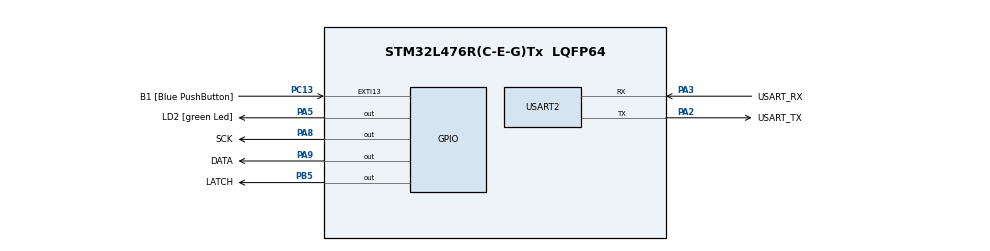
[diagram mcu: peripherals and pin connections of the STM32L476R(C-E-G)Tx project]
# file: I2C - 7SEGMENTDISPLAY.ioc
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Mcu.Family=STM32L4
Mcu.Name=STM32L476R(C-E-G)Tx
Mcu.Package=LQFP64
NVIC.PriorityGroup=NVIC_PRIORITYGROUP_4
NVIC.TIM1_UP_TIM16_IRQn=true\:0\:0\:false\:false\:true\:true\:true\:true
PA14\ (JTCK-SWCLK).GPIO_Label=TCK
PA14\ (JTCK-SWCLK).Signal=SYS_JTCK-SWCLK
PA2.GPIO_Label=USART_TX
PA2.GPIO_Mode=GPIO_MODE_AF_PP
PA2.GPIO_PuPd=GPIO_NOPULL
PA2.GPIO_Speed=GPIO_SPEED_FREQ_VERY_HIGH
PA2.Mode=Asynchronous
PA2.Signal=USART2_TX
PA3.GPIO_Label=USART_RX
PA3.GPIO_Mode=GPIO_MODE_AF_PP
PA3.GPIO_PuPd=GPIO_NOPULL
PA3.GPIO_Speed=GPIO_SPEED_FREQ_VERY_HIGH
PA3.Mode=Asynchronous
PA3.Signal=USART2_RX
PA5.GPIO_Label=LD2 [green Led]
PA5.GPIO_ModeDefaultOutputPP=GPIO_MODE_OUTPUT_PP
PA5.GPIO_PuPd=GPIO_NOPULL
PA5.GPIO_Speed=GPIO_SPEED_FREQ_LOW
PA5.Signal=GPIO_Output
PA8.GPIO_Label=SCK
PA8.Signal=GPIO_Output
PA9.GPIO_Label=DATA
PA9.Signal=GPIO_Output
PB3\ (JTDO-TRACESWO).GPIO_Label=SWO
PB3\ (JTDO-TRACESWO).Signal=SYS_JTDO-SWO
PB5.GPIO_Label=LATCH
PB5.Signal=GPIO_Output
PC13.GPIO_Label=B1 [Blue PushButton]
PC13.GPIO_ModeDefaultEXTI=GPIO_MODE_IT_FALLING
PC13.GPIO_PuPd=GPIO_NOPULL
PC13.Signal=GPXTI13
PC14-OSC32_IN\ (PC14).Signal=RCC_OSC32_IN
PC15-OSC32_OUT\ (PC15).Signal=RCC_OSC32_OUT
PH0-OSC_IN\ (PH0).Signal=RCC_OSC_IN
PH1-OSC_OUT\ (PH1).Signal=RCC_OSC_OUT
ProjectManager.HeapSize=0x200
ProjectManager.StackSize=0x400
ProjectManager.TargetToolchain=STM32CubeIDE
TIM16.Period=49
TIM16.Prescaler=7999
USART2.VirtualMode-Asynchronous=VM_ASYNC
VP_TIM16_VS_ClockSourceINT.Mode=Enable_Timer
board=NUCLEO-L476RG

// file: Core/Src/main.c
/* USER CODE BEGIN Header */
/**
  ******************************************************************************
  * @file           : main.c
  * @brief          : Main program body
  ******************************************************************************
  * @attention
  *
  * Copyright (c) 2024 STMicroelectronics.
  * All rights reserved.
  *
  * This software is licensed under terms that can be found in the LICENSE file
  * in the root directory of this software component.
  * If no LICENSE file comes with this software, it is provided AS-IS.
  *
  ******************************************************************************
  */
/* USER CODE END Header */
#include "main.h"

TIM_HandleTypeDef htim16;

UART_HandleTypeDef huart2;

/* USER CODE BEGIN PV */
#define CLOCK_0 0xC6

uint8_t TX_Buffer [] = {CLOCK_0, 0xF1} ; // DATA to send
uint8_t select_seg1 = 0xF1;
uint8_t select_seg2 = 0xF2;
uint8_t select_seg3 = 0xF4;
uint8_t select_seg4 = 0xF8;

static uint8_t latch_val = GPIO_PIN_SET;
/* USER CODE END PV */

void SystemClock_Config(void);
static void MX_GPIO_Init(void);
static void MX_USART2_UART_Init(void);
static void MX_TIM16_Init(void);

int main(void)
{

  /* MCU Configuration--------------------------------------------------------*/

  /* Reset of all peripherals, Initializes the Flash interface and the Systick. */
  HAL_Init();

  /* Configure the system clock */
  SystemClock_Config();

  /* Initialize all configured peripherals */
  MX_GPIO_Init();
  MX_USART2_UART_Init();
  MX_TIM16_Init();
  /* USER CODE BEGIN 2 */

  HAL_TIM_Base_Start_IT(&htim16);
  /* USER CODE END 2 */

  /* Infinite loop */
  while (1)
  {

  }
}

void SystemClock_Config(void)
{
  RCC_OscInitTypeDef RCC_OscInitStruct = {0};
  RCC_ClkInitTypeDef RCC_ClkInitStruct = {0};

  /** Configure the main internal regulator output voltage
  */
  if (HAL_PWREx_ControlVoltageScaling(PWR_REGULATOR_VOLTAGE_SCALE1) != HAL_OK)
  {
    Error_Handler();
  }

  /** Initializes the RCC Oscillators according to the specified parameters
  * in the RCC_OscInitTypeDef structure.
  */
  RCC_OscInitStruct.OscillatorType = RCC_OSCILLATORTYPE_MSI;
  RCC_OscInitStruct.MSIState = RCC_MSI_ON;
  RCC_OscInitStruct.MSICalibrationValue = 0;
  RCC_OscInitStruct.MSIClockRange = RCC_MSIRANGE_6;
  RCC_OscInitStruct.PLL.PLLState = RCC_PLL_NONE;
  if (HAL_RCC_OscConfig(&RCC_OscInitStruct) != HAL_OK)
  {
    Error_Handler();
  }

  /** Initializes the CPU, AHB and APB buses clocks
  */
  RCC_ClkInitStruct.ClockType = RCC_CLOCKTYPE_HCLK|RCC_CLOCKTYPE_SYSCLK
                              |RCC_CLOCKTYPE_PCLK1|RCC_CLOCKTYPE_PCLK2;
  RCC_ClkInitStruct.SYSCLKSource = RCC_SYSCLKSOURCE_MSI;
  RCC_ClkInitStruct.AHBCLKDivider = RCC_SYSCLK_DIV1;
  RCC_ClkInitStruct.APB1CLKDivider = RCC_HCLK_DIV1;
  RCC_ClkInitStruct.APB2CLKDivider = RCC_HCLK_DIV1;

  if (HAL_RCC_ClockConfig(&RCC_ClkInitStruct, FLASH_LATENCY_0) != HAL_OK)
  {
    Error_Handler();
  }
}

static void MX_TIM16_Init(void)
{

  htim16.Instance = TIM16;
  htim16.Init.Prescaler = 7999;
  htim16.Init.CounterMode = TIM_COUNTERMODE_UP;
  htim16.Init.Period = 49;
  htim16.Init.ClockDivision = TIM_CLOCKDIVISION_DIV1;
  htim16.Init.RepetitionCounter = 0;
  htim16.Init.AutoReloadPreload = TIM_AUTORELOAD_PRELOAD_DISABLE;
  if (HAL_TIM_Base_Init(&htim16) != HAL_OK)
  {
    Error_Handler();
  }

}

static void MX_USART2_UART_Init(void)
{

  huart2.Instance = USART2;
  huart2.Init.BaudRate = 115200;
  huart2.Init.WordLength = UART_WORDLENGTH_8B;
  huart2.Init.StopBits = UART_STOPBITS_1;
  huart2.Init.Parity = UART_PARITY_NONE;
  huart2.Init.Mode = UART_MODE_TX_RX;
  huart2.Init.HwFlowCtl = UART_HWCONTROL_NONE;
  huart2.Init.OverSampling = UART_OVERSAMPLING_16;
  huart2.Init.OneBitSampling = UART_ONE_BIT_SAMPLE_DISABLE;
  huart2.AdvancedInit.AdvFeatureInit = UART_ADVFEATURE_NO_INIT;
  if (HAL_UART_Init(&huart2) != HAL_OK)
  {
    Error_Handler();
  }

}

static void MX_GPIO_Init(void)
{
  GPIO_InitTypeDef GPIO_InitStruct = {0};

  /* GPIO Ports Clock Enable */
  __HAL_RCC_GPIOC_CLK_ENABLE();
  __HAL_RCC_GPIOH_CLK_ENABLE();
  __HAL_RCC_GPIOA_CLK_ENABLE();
  __HAL_RCC_GPIOB_CLK_ENABLE();

  /*Configure GPIO pin Output Level */
  HAL_GPIO_WritePin(GPIOA, LD2_Pin|SCK_Pin|DATA_Pin, GPIO_PIN_RESET);

  /*Configure GPIO pin Output Level */
  HAL_GPIO_WritePin(LATCH_GPIO_Port, LATCH_Pin, GPIO_PIN_SET);

  /*Configure GPIO pin : B1_Pin */
  GPIO_InitStruct.Pin = B1_Pin;
  GPIO_InitStruct.Mode = GPIO_MODE_IT_FALLING;
  GPIO_InitStruct.Pull = GPIO_NOPULL;
  HAL_GPIO_Init(B1_GPIO_Port, &GPIO_InitStruct);

  /*Configure GPIO pins : LD2_Pin SCK_Pin DATA_Pin */
  GPIO_InitStruct.Pin = LD2_Pin|SCK_Pin|DATA_Pin;
  GPIO_InitStruct.Mode = GPIO_MODE_OUTPUT_PP;
  GPIO_InitStruct.Pull = GPIO_NOPULL;
  GPIO_InitStruct.Speed = GPIO_SPEED_FREQ_LOW;
  HAL_GPIO_Init(GPIOA, &GPIO_InitStruct);

  /*Configure GPIO pin : LATCH_Pin */
  GPIO_InitStruct.Pin = LATCH_Pin;
  GPIO_InitStruct.Mode = GPIO_MODE_OUTPUT_PP;
  GPIO_InitStruct.Pull = GPIO_NOPULL;
  GPIO_InitStruct.Speed = GPIO_SPEED_FREQ_LOW;
  HAL_GPIO_Init(LATCH_GPIO_Port, &GPIO_InitStruct);

}

/* USER CODE BEGIN 4 */
void HAL_TIM_PeriodElapsedCallback(TIM_HandleTypeDef *htim)
{
  // Check which version of the timer triggered this callback and toggle LED
  if (htim == &htim16 )
  {
	  static uint8_t data_sent = 0;
	  if (latch_val == GPIO_PIN_SET && !data_sent)
	  {
		  latch_val = GPIO_PIN_RESET;
		  HAL_GPIO_WritePin(LATCH_GPIO_Port, LATCH_Pin, latch_val);
	  }

	  if (latch_val == GPIO_PIN_RESET)
	  {
		  static uint8_t on_low = 1;

		  HAL_GPIO_WritePin(GPIOA, SCK_Pin, !on_low);
		  if (on_low)
		  {
			  static uint8_t tx_index = 0;
			  static uint8_t byte_index = 0;
//			  uint8_t send = TX_Buffer[tx_index] & (1 << byte_index);
			  HAL_GPIO_WritePin(GPIOA, DATA_Pin, GPIO_PIN_RESET);
			  if (++byte_index >= 8) {
				byte_index = 0;
				tx_index++;
				if (tx_index == 2)
				{
					latch_val = GPIO_PIN_SET;
					HAL_GPIO_WritePin(LATCH_GPIO_Port, LATCH_Pin, latch_val);
					data_sent = 1;
				}
			  }
		  }

		  // toggle the setting
		  on_low = !on_low;
	  }
//    HAL_GPIO_TogglePin(GPIOA, GPIO_PIN_5);
  }
}

/* USER CODE END 4 */

void Error_Handler(void)
{
  __disable_irq();
  while (1)
  {
  }
}
